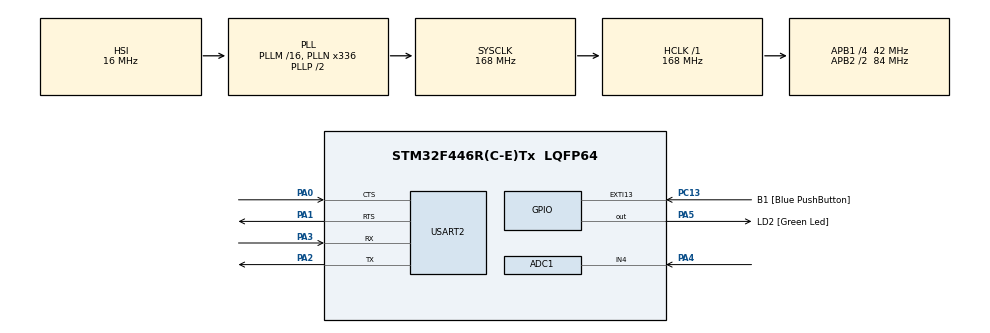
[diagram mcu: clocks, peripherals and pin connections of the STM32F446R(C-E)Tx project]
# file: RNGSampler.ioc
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ADC1.Channel-8\#ChannelRegularConversion=ADC_CHANNEL_4
ADC1.ClockPrescaler=ADC_CLOCK_SYNC_PCLK_DIV4
ADC1.ContinuousConvMode=DISABLE
ADC1.DMAContinuousRequests=ENABLE
ADC1.DataAlign=ADC_DATAALIGN_RIGHT
ADC1.DiscontinuousConvMode=DISABLE
ADC1.EOCSelection=ADC_EOC_SINGLE_CONV
ADC1.EnableAnalogWatchDog=false
ADC1.ExternalTrigConv=ADC_EXTERNALTRIGCONV_T2_TRGO
ADC1.ExternalTrigConvEdge=ADC_EXTERNALTRIGCONVEDGE_RISING
ADC1.InjNumberOfConversion=0
ADC1.NbrOfConversion=1
ADC1.NbrOfConversionFlag=1
ADC1.Rank-8\#ChannelRegularConversion=1
ADC1.Resolution=ADC_RESOLUTION_12B
ADC1.SamplingTime-8\#ChannelRegularConversion=ADC_SAMPLETIME_3CYCLES
ADC1.ScanConvMode=DISABLE
ADC1.master=1
Dma.ADC1.0.Direction=DMA_PERIPH_TO_MEMORY
Dma.ADC1.0.FIFOMode=DMA_FIFOMODE_DISABLE
Dma.ADC1.0.Instance=DMA2_Stream0
Dma.ADC1.0.MemDataAlignment=DMA_MDATAALIGN_WORD
Dma.ADC1.0.MemInc=DMA_MINC_ENABLE
Dma.ADC1.0.Mode=DMA_CIRCULAR
Dma.ADC1.0.PeriphDataAlignment=DMA_PDATAALIGN_WORD
Dma.ADC1.0.PeriphInc=DMA_PINC_DISABLE
Dma.ADC1.0.Priority=DMA_PRIORITY_MEDIUM
Dma.Request0=ADC1
Dma.Request1=USART2_TX
Dma.USART2_TX.1.Direction=DMA_MEMORY_TO_PERIPH
Dma.USART2_TX.1.FIFOMode=DMA_FIFOMODE_DISABLE
Dma.USART2_TX.1.Instance=DMA1_Stream6
Dma.USART2_TX.1.MemDataAlignment=DMA_MDATAALIGN_BYTE
Dma.USART2_TX.1.MemInc=DMA_MINC_ENABLE
Dma.USART2_TX.1.Mode=DMA_NORMAL
Dma.USART2_TX.1.PeriphDataAlignment=DMA_PDATAALIGN_BYTE
Dma.USART2_TX.1.PeriphInc=DMA_PINC_DISABLE
Dma.USART2_TX.1.Priority=DMA_PRIORITY_HIGH
Mcu.Family=STM32F4
Mcu.Name=STM32F446R(C-E)Tx
Mcu.Package=LQFP64
NVIC.ADC_IRQn=true\:0\:0\:false\:false\:true
NVIC.DMA1_Stream6_IRQn=true\:0\:0\:false\:false\:true
NVIC.DMA2_Stream0_IRQn=true\:0\:0\:false\:false\:true
NVIC.EXTI15_10_IRQn=true\:0\:1\:true\:false\:true
NVIC.PriorityGroup=NVIC_PRIORITYGROUP_0
NVIC.USART2_IRQn=true\:0\:0\:false\:false\:true
PA0-WKUP.Mode=CTS_RTS
PA0-WKUP.Signal=USART2_CTS
PA1.Mode=CTS_RTS
PA1.Signal=USART2_RTS
PA2.Mode=Asynchronous
PA2.Signal=USART2_TX
PA3.Mode=Asynchronous
PA3.Signal=USART2_RX
PA4.Signal=ADCx_IN4
PA5.GPIO_Label=LD2 [Green Led]
PA5.Signal=GPIO_Output
PC13.GPIO_Label=B1 [Blue PushButton]
PC13.GPIO_ModeDefaultEXTI=GPIO_MODE_IT_RISING
PC13.GPIO_PuPd=GPIO_PULLDOWN
PC13.Signal=GPXTI13
ProjectManager.HeapSize=0x200
ProjectManager.StackSize=0x400
ProjectManager.TargetToolchain=MDK-ARM V5
RCC.AHBFreq_Value=168000000
RCC.APB1CLKDivider=RCC_HCLK_DIV4
RCC.APB1Freq_Value=42000000
RCC.APB1TimFreq_Value=84000000
RCC.APB2CLKDivider=RCC_HCLK_DIV2
RCC.APB2Freq_Value=84000000
RCC.APB2TimFreq_Value=168000000
RCC.CortexFreq_Value=168000000
RCC.FLatency-AdvancedSettings=FLASH_LATENCY_5
RCC.HCLKFreq_Value=168000000
RCC.HSE_VALUE=8000000
RCC.HSI_VALUE=16000000
RCC.LSE_VALUE=32768
RCC.PLLN=336
RCC.SYSCLKFreq_VALUE=168000000
RCC.SYSCLKSource=RCC_SYSCLKSOURCE_PLLCLK
RCC.USBFreq_Value=168000000
RCC.VCOOutputFreq_Value=336000000
SH.ADCx_IN4.0=ADC1_IN4,IN4
TIM2.Period=83
TIM2.TIM_MasterOutputTrigger=TIM_TRGO_UPDATE
TIM2.TIM_MasterSlaveMode=TIM_MASTERSLAVEMODE_DISABLE
VP_TIM2_VS_ClockSourceINT.Mode=Internal
board=NUCLEO-F446RE

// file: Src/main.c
/**
  ******************************************************************************
  * File Name          : main.c
  * Description        : Main program body
  ******************************************************************************
  *
  * COPYRIGHT(c) 2016 STMicroelectronics
  *
  * Redistribution and use in source and binary forms, with or without modification,
  * are permitted provided that the following conditions are met:
  *   1. Redistributions of source code must retain the above copyright notice,
  *      this list of conditions and the following disclaimer.
  *   2. Redistributions in binary form must reproduce the above copyright notice,
  *      this list of conditions and the following disclaimer in the documentation
  *      and/or other materials provided with the distribution.
  *   3. Neither the name of STMicroelectronics nor the names of its contributors
  *      may be used to endorse or promote products derived from this software
  *      without specific prior written permission.
  *
  * THIS SOFTWARE IS PROVIDED BY THE COPYRIGHT HOLDERS AND CONTRIBUTORS "AS IS"
  * AND ANY EXPRESS OR IMPLIED WARRANTIES, INCLUDING, BUT NOT LIMITED TO, THE
  * IMPLIED WARRANTIES OF MERCHANTABILITY AND FITNESS FOR A PARTICULAR PURPOSE ARE
  * DISCLAIMED. IN NO EVENT SHALL THE COPYRIGHT HOLDER OR CONTRIBUTORS BE LIABLE
  * FOR ANY DIRECT, INDIRECT, INCIDENTAL, SPECIAL, EXEMPLARY, OR CONSEQUENTIAL
  * DAMAGES (INCLUDING, BUT NOT LIMITED TO, PROCUREMENT OF SUBSTITUTE GOODS OR
  * SERVICES; LOSS OF USE, DATA, OR PROFITS; OR BUSINESS INTERRUPTION) HOWEVER
  * CAUSED AND ON ANY THEORY OF LIABILITY, WHETHER IN CONTRACT, STRICT LIABILITY,
  * OR TORT (INCLUDING NEGLIGENCE OR OTHERWISE) ARISING IN ANY WAY OUT OF THE USE
  * OF THIS SOFTWARE, EVEN IF ADVISED OF THE POSSIBILITY OF SUCH DAMAGE.
  *
  ******************************************************************************
  */
#include "stm32f4xx_hal.h"

/* USER CODE BEGIN Includes */
#define MASK 0b111111
#define CVSIZE 1600U
#define MBSIZE 200U
#define LINESNEEDED 2600000000U
/* USER CODE END Includes */

ADC_HandleTypeDef hadc1;
DMA_HandleTypeDef hdma_adc1;

TIM_HandleTypeDef htim2;

UART_HandleTypeDef huart2;
DMA_HandleTypeDef hdma_usart2_tx;

/* USER CODE BEGIN PV */
/* Private variables ---------------------------------------------------------*/
uint8_t CharVal = 0;
uint16_t ConvertedValue;
uint32_t ConvBuff[CVSIZE];
uint32_t MaskedBuff[MBSIZE];

uint8_t SendBuff[7200];
uint32_t n = 0;
volatile uint32_t ProcessFlag = 0;
volatile uint32_t DataStart = 0;

volatile uint64_t TotalRuns = LINESNEEDED / MBSIZE;

uint32_t TotalInteger = 10;

/* USER CODE END PV */

void SystemClock_Config(void);
void Error_Handler(void);
static void MX_GPIO_Init(void);
static void MX_DMA_Init(void);
static void MX_ADC1_Init(void);
static void MX_TIM2_Init(void);
static void MX_USART2_UART_Init(void);

/* USER CODE BEGIN PFP */
/* Private function prototypes -----------------------------------------------*/

/* USER CODE END PFP */

int main(void)
{

  /* MCU Configuration----------------------------------------------------------*/

  /* Reset of all peripherals, Initializes the Flash interface and the Systick. */
  HAL_Init();

  /* Configure the system clock */
  SystemClock_Config();

  /* Initialize all configured peripherals */
  MX_GPIO_Init();
  MX_DMA_Init();
  MX_ADC1_Init();
  MX_TIM2_Init();
  MX_USART2_UART_Init();

  /* USER CODE BEGIN 2 */
	HAL_TIM_Base_Start(&htim2);

  /* USER CODE END 2 */

  /* Infinite loop */
  /* USER CODE BEGIN WHILE */
  while (1)
  {
		if(ProcessFlag){
			int a,b;
			int i = 0;
			for(a=0;a<MBSIZE;a++){
				MaskedBuff[a] = 0;
			}

			for(b=0;b<MBSIZE;b++){
				for(a=0;a<8;a++){
					i = a * 4;
					MaskedBuff[b] = MaskedBuff[b] + ((ConvBuff[a+(8*b)] & 0x000F) << i );
				}
			}

			n=0;
//			for(b=0;b<MBSIZE;b++){
//				n = n + sprintf((char *)&SendBuff[n], "%10u\n", MaskedBuff[b]);
//			}

			HAL_UART_Transmit_DMA(&huart2,(uint8_t *)MaskedBuff, MBSIZE);

			ProcessFlag = 0;
		}

  /* USER CODE END WHILE */

	}

}

/** System Clock Configuration
*/
void SystemClock_Config(void)
{

  RCC_OscInitTypeDef RCC_OscInitStruct;
  RCC_ClkInitTypeDef RCC_ClkInitStruct;

  __HAL_RCC_PWR_CLK_ENABLE();

  __HAL_PWR_VOLTAGESCALING_CONFIG(PWR_REGULATOR_VOLTAGE_SCALE1);

  RCC_OscInitStruct.OscillatorType = RCC_OSCILLATORTYPE_HSI;
  RCC_OscInitStruct.HSIState = RCC_HSI_ON;
  RCC_OscInitStruct.HSICalibrationValue = 16;
  RCC_OscInitStruct.PLL.PLLState = RCC_PLL_ON;
  RCC_OscInitStruct.PLL.PLLSource = RCC_PLLSOURCE_HSI;
  RCC_OscInitStruct.PLL.PLLM = 16;
  RCC_OscInitStruct.PLL.PLLN = 336;
  RCC_OscInitStruct.PLL.PLLP = RCC_PLLP_DIV2;
  RCC_OscInitStruct.PLL.PLLQ = 2;
  RCC_OscInitStruct.PLL.PLLR = 2;
  if (HAL_RCC_OscConfig(&RCC_OscInitStruct) != HAL_OK)
  {
    Error_Handler();
  }

  RCC_ClkInitStruct.ClockType = RCC_CLOCKTYPE_HCLK|RCC_CLOCKTYPE_SYSCLK
                              |RCC_CLOCKTYPE_PCLK1|RCC_CLOCKTYPE_PCLK2;
  RCC_ClkInitStruct.SYSCLKSource = RCC_SYSCLKSOURCE_PLLCLK;
  RCC_ClkInitStruct.AHBCLKDivider = RCC_SYSCLK_DIV1;
  RCC_ClkInitStruct.APB1CLKDivider = RCC_HCLK_DIV4;
  RCC_ClkInitStruct.APB2CLKDivider = RCC_HCLK_DIV2;
  if (HAL_RCC_ClockConfig(&RCC_ClkInitStruct, FLASH_LATENCY_5) != HAL_OK)
  {
    Error_Handler();
  }

  HAL_SYSTICK_Config(HAL_RCC_GetHCLKFreq()/1000);

  HAL_SYSTICK_CLKSourceConfig(SYSTICK_CLKSOURCE_HCLK);

  /* SysTick_IRQn interrupt configuration */
  HAL_NVIC_SetPriority(SysTick_IRQn, 0, 0);
}

/* ADC1 init function */
static void MX_ADC1_Init(void)
{

  ADC_ChannelConfTypeDef sConfig;

    /**Configure the global features of the ADC (Clock, Resolution, Data Alignment and number of conversion)
    */
  hadc1.Instance = ADC1;
  hadc1.Init.ClockPrescaler = ADC_CLOCK_SYNC_PCLK_DIV4;
  hadc1.Init.Resolution = ADC_RESOLUTION_12B;
  hadc1.Init.ScanConvMode = DISABLE;
  hadc1.Init.ContinuousConvMode = DISABLE;
  hadc1.Init.DiscontinuousConvMode = DISABLE;
  hadc1.Init.ExternalTrigConvEdge = ADC_EXTERNALTRIGCONVEDGE_RISING;
  hadc1.Init.ExternalTrigConv = ADC_EXTERNALTRIGCONV_T2_TRGO;
  hadc1.Init.DataAlign = ADC_DATAALIGN_RIGHT;
  hadc1.Init.NbrOfConversion = 1;
  hadc1.Init.DMAContinuousRequests = ENABLE;
  hadc1.Init.EOCSelection = ADC_EOC_SINGLE_CONV;
  if (HAL_ADC_Init(&hadc1) != HAL_OK)
  {
    Error_Handler();
  }

    /**Configure for the selected ADC regular channel its corresponding rank in the sequencer and its sample time.
    */
  sConfig.Channel = ADC_CHANNEL_4;
  sConfig.Rank = 1;
  sConfig.SamplingTime = ADC_SAMPLETIME_3CYCLES;
  if (HAL_ADC_ConfigChannel(&hadc1, &sConfig) != HAL_OK)
  {
    Error_Handler();
  }

}

/* TIM2 init function */
static void MX_TIM2_Init(void)
{

  TIM_ClockConfigTypeDef sClockSourceConfig;
  TIM_MasterConfigTypeDef sMasterConfig;

  htim2.Instance = TIM2;
  htim2.Init.Prescaler = 0;
  htim2.Init.CounterMode = TIM_COUNTERMODE_UP;
  htim2.Init.Period = 83;
  htim2.Init.ClockDivision = TIM_CLOCKDIVISION_DIV1;
  if (HAL_TIM_Base_Init(&htim2) != HAL_OK)
  {
    Error_Handler();
  }

  sClockSourceConfig.ClockSource = TIM_CLOCKSOURCE_INTERNAL;
  if (HAL_TIM_ConfigClockSource(&htim2, &sClockSourceConfig) != HAL_OK)
  {
    Error_Handler();
  }

  sMasterConfig.MasterOutputTrigger = TIM_TRGO_UPDATE;
  sMasterConfig.MasterSlaveMode = TIM_MASTERSLAVEMODE_DISABLE;
  if (HAL_TIMEx_MasterConfigSynchronization(&htim2, &sMasterConfig) != HAL_OK)
  {
    Error_Handler();
  }

}

/* USART2 init function */
static void MX_USART2_UART_Init(void)
{

  huart2.Instance = USART2;
  huart2.Init.BaudRate = 115200;
  huart2.Init.WordLength = UART_WORDLENGTH_8B;
  huart2.Init.StopBits = UART_STOPBITS_1;
  huart2.Init.Parity = UART_PARITY_NONE;
  huart2.Init.Mode = UART_MODE_TX_RX;
  huart2.Init.HwFlowCtl = UART_HWCONTROL_RTS_CTS;
  huart2.Init.OverSampling = UART_OVERSAMPLING_16;
  if (HAL_UART_Init(&huart2) != HAL_OK)
  {
    Error_Handler();
  }

}

static void MX_DMA_Init(void)
{
  /* DMA controller clock enable */
  __HAL_RCC_DMA2_CLK_ENABLE();
  __HAL_RCC_DMA1_CLK_ENABLE();

  /* DMA interrupt init */
  /* DMA1_Stream6_IRQn interrupt configuration */
  HAL_NVIC_SetPriority(DMA1_Stream6_IRQn, 0, 0);
  HAL_NVIC_EnableIRQ(DMA1_Stream6_IRQn);
  /* DMA2_Stream0_IRQn interrupt configuration */
  HAL_NVIC_SetPriority(DMA2_Stream0_IRQn, 0, 0);
  HAL_NVIC_EnableIRQ(DMA2_Stream0_IRQn);

}

/** Configure pins as
        * Analog
        * Input
        * Output
        * EVENT_OUT
        * EXTI
*/
static void MX_GPIO_Init(void)
{

  GPIO_InitTypeDef GPIO_InitStruct;

  /* GPIO Ports Clock Enable */
  __HAL_RCC_GPIOC_CLK_ENABLE();
  __HAL_RCC_GPIOA_CLK_ENABLE();

  /*Configure GPIO pin : B1_Pin */
  GPIO_InitStruct.Pin = B1_Pin;
  GPIO_InitStruct.Mode = GPIO_MODE_IT_RISING;
  GPIO_InitStruct.Pull = GPIO_PULLDOWN;
  HAL_GPIO_Init(B1_GPIO_Port, &GPIO_InitStruct);

  /*Configure GPIO pin : LD2_Pin */
  GPIO_InitStruct.Pin = LD2_Pin;
  GPIO_InitStruct.Mode = GPIO_MODE_OUTPUT_PP;
  GPIO_InitStruct.Pull = GPIO_NOPULL;
  GPIO_InitStruct.Speed = GPIO_SPEED_FREQ_LOW;
  HAL_GPIO_Init(LD2_GPIO_Port, &GPIO_InitStruct);

  /*Configure GPIO pin Output Level */
  HAL_GPIO_WritePin(LD2_GPIO_Port, LD2_Pin, GPIO_PIN_RESET);

  /* EXTI interrupt init*/
  HAL_NVIC_SetPriority(EXTI15_10_IRQn, 0, 1);
  HAL_NVIC_EnableIRQ(EXTI15_10_IRQn);

}

/* USER CODE BEGIN 4 */
void HAL_ADC_ConvCpltCallback(ADC_HandleTypeDef* hadc){
	HAL_ADC_Stop_DMA(hadc);

	ProcessFlag = 1;
	//DataStart = 0;
}

void HAL_GPIO_EXTI_Callback(uint16_t GPIO_Pin){
	HAL_NVIC_DisableIRQ(EXTI15_10_IRQn);
//	uint8_t header1[] = "type: d\n";
//	int nh1 = sizeof(header1) / sizeof(char);
//
//	uint8_t header2buff[100];
//	uint32_t nh2;
//
	uint64_t totallines = TotalRuns * MBSIZE;
//	nh2 = sprintf((char *)header2buff, "count: %llu\n", (long long)totallines);
//
//	uint8_t header3[] = "numbit: 32\n";
//	int nh3 = sizeof(header3) / sizeof(char);
//
//	HAL_UART_Transmit(&huart2, header1, nh1, 1);
//	HAL_UART_Transmit(&huart2, header2buff, nh2, 1);
//	HAL_UART_Transmit(&huart2, header3, nh3, 1);

	if(!DataStart){
		DataStart = 1;
		HAL_ADC_Start_DMA(&hadc1, ConvBuff, CVSIZE);

	}

}

void HAL_UART_TxCpltCallback( UART_HandleTypeDef *huart){
	TotalRuns--;
	if(TotalRuns != 0){
		HAL_ADC_Start_DMA(&hadc1, ConvBuff, CVSIZE);
	}else{
		DataStart = 0;
		TotalRuns = LINESNEEDED / MBSIZE;
		HAL_NVIC_EnableIRQ(EXTI15_10_IRQn);
	}

}

/* USER CODE END 4 */

void Error_Handler(void)
{
  while(1)
  {
  }
}

/************************ (C) COPYRIGHT STMicroelectronics *****END OF FILE****/
